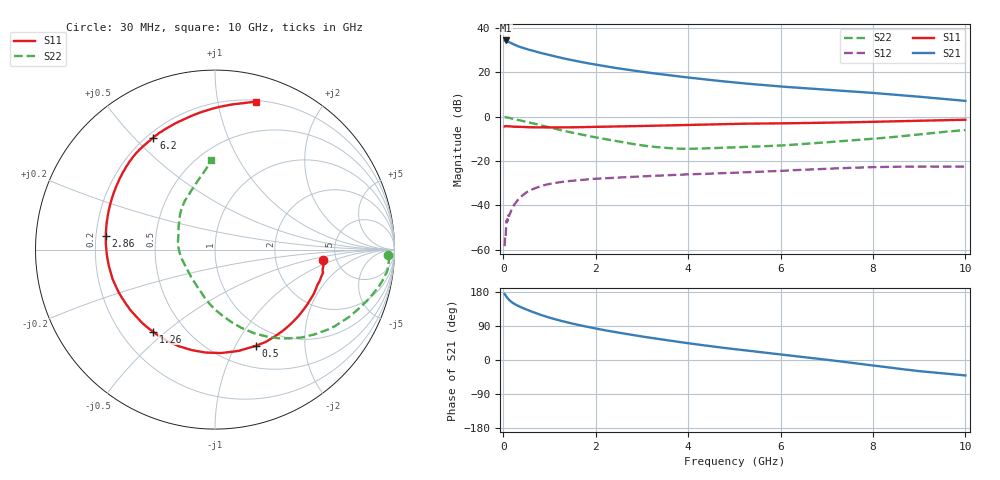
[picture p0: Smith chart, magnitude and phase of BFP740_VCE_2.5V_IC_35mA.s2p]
! Infineon Technologies  Discrete & RF Semiconductors
! BFP740
! VCE =  2.5 V,  IC =  35 mA
! Common Emitter S-Parameters:  Jan 2016
# GHz  S  MA  R  50
!  f  S11  S21  S12  S22
! GHz  MAG  ANG  MAG  ANG  MAG  ANG  MAG  ANG
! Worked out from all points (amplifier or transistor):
!   229 points, 30 MHz to 10 GHz, reference 50 ohm
!   highest |S21| = 34.4 dB at 50 MHz (marker M1)
!   |S21| within 3 dB of that: start of sweep to 374.4 MHz
!   unconditionally stable (mu >= 1): 5.584 GHz to 9.826 GHz
!   at 280 MHz: K = 0.31, MSG = 35.4 dB, |S12| = -38.6 dB
!   at 1.78 GHz: K = 0.54, MSG = 26.4 dB, |S12| = -28.4 dB
!   at 10 GHz: K = 0.99, MSG = 14.8 dB, |S12| = -22.5 dB
!   S11 on the Smith chart (normalised r, x): 30 MHz: 3.92, -0.69; 500 MHz: 0.75, -1.21; 1.26 GHz: 0.33, -0.45; 2.86 GHz: 0.24, +0.06; 6.2 GHz: 0.22, +0.57; 10 GHz: 0.21, +1.29
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0.03  0.6043 -5.3  52.22 174.3  0.0012 125.1  0.9671 -1.9
0.05  0.6106 -8.8  52.51 170.7  0.0018 66.0  0.9701 -4.4
0.08  0.6119 -13.7  51.52 165.2  0.0043 89.4  0.965 -7.5
0.11  0.604 -18.7  49.35 160.7  0.006 92.3  0.9487 -10.5
0.15  0.6028 -24.6  46.93 156.0  0.0067 78.0  0.928 -13.7
0.2  0.5979 -31.5  44.11 151.1  0.0087 78.4  0.9022 -17.5
0.34  0.5898 -49.0  38.23 141.7  0.0143 70.0  0.8384 -26.3
0.5  0.5822 -66.9  33.77 133.3  0.0197 62.4  0.7699 -35.4
0.7  0.5774 -86.5  29.53 123.9  0.0246 54.3  0.6876 -45.4
0.82  0.5749 -96.9  27.39 118.8  0.0272 50.9  0.6387 -50.7
1  0.5746 -110.7  24.57 111.8  0.0303 45.9  0.5738 -58.2
1.26  0.5731 -127.2  21.21 103.0  0.0336 40.2  0.4938 -67.2
1.7  0.5814 -149.0  17.06 90.6  0.0375 33.9  0.3929 -80.0
2.24  0.5963 -169.2  13.54 77.6  0.0412 28.9  0.308 -94.8
2.86  0.6133 172.8  10.82 64.8  0.0443 25.0  0.2378 -112.0
3.4  0.6309 159.8  9.125 54.7  0.047 22.0  0.203 -130.8
4.2  0.6619 143.5  7.25 41.0  0.0509 18.5  0.1904 -160.9
5.1  0.6914 130.3  5.792 27.3  0.0548 15.1  0.206 174.2
6.2  0.7122 118.8  4.643 12.1  0.0614 11.1  0.2306 151.8
6.8  0.7272 112.0  4.194 3.5  0.0656 7.5  0.2553 141.3
8.4  0.786 90.9  3.186 -20.6  0.0742 -4.3  0.345 114.2
10  0.855 74.5  2.275 -40.7  0.075 -14.7  0.5001 92.3
